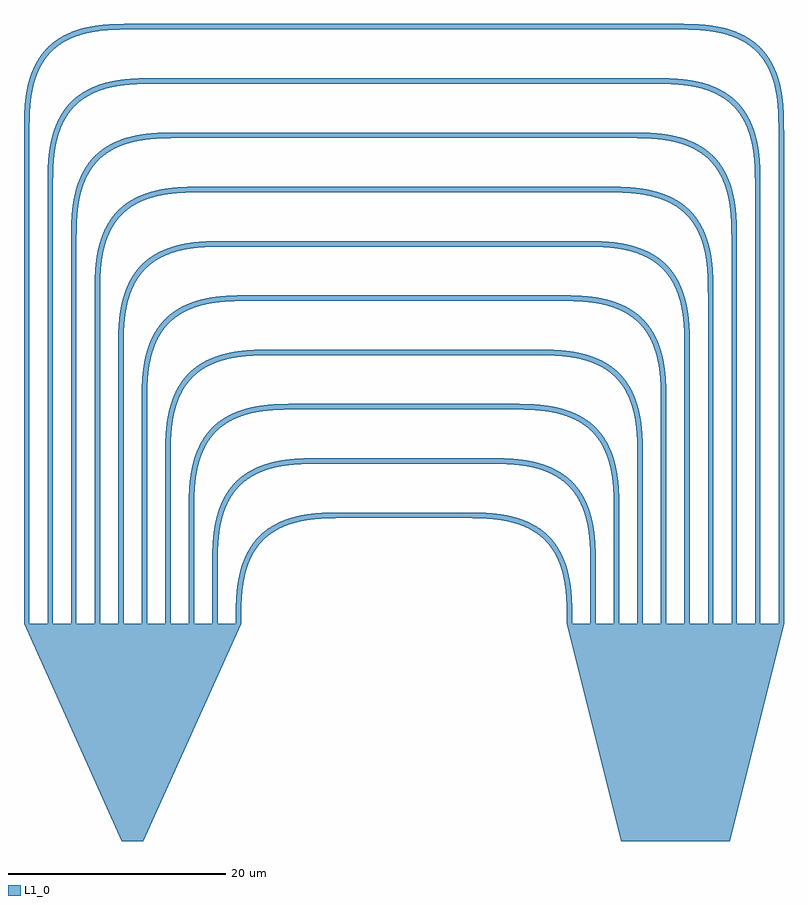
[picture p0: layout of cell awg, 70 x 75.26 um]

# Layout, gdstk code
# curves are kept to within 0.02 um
from math import pi, radians
import gdstk
lib = gdstk.Library(unit=1e-6, precision=1e-09)
def R(c, l, rs):  # rectangles x0, y0, x1, y1
    for r in rs: c.add(gdstk.rectangle(r[:2], r[2:], *l))
def P(c, l, *ps):  # polygons
    for p in ps: c.add(gdstk.Polygon(p, *l))
L1_0 = (1, 0)

free_propagation_region_ = lib.new_cell('free_propagation_region_5af035e7')
P(free_propagation_region_, L1_0, [(0,1),(20,10),(20,-10),(0,-1)])

c_free_propagation_region_ = lib.new_cell('free_propagation_region_16890314')
P(c_free_propagation_region_, L1_0, [(0,5),(20,10),(20,-10),(0,-5)])

bend_euler_cross_sectio_ = lib.new_cell('bend_euler_cross_sectio_a3a0edf9')
P(bend_euler_cross_sectio_, L1_0, [(0,-0.25),(1.602,-0.235),(2.93,-0.158),(3.973,-0.02),(4.865,0.175),(5.829,0.491),(6.664,0.882),(7.404,1.353),(8.073,1.927),(8.647,2.596),(9.118,3.336),(9.509,4.171),(9.825,5.135),(10.02,6.027),(10.158,7.07),(10.235,8.398),(10.25,10),(9.75,10),(9.731,8.272),(9.651,7.025),(9.494,5.933),(9.213,4.826),(8.921,4.063),(8.591,3.419),(8.163,2.785),(7.751,2.313),(7.215,1.837),(6.581,1.409),(5.937,1.079),(5.217,0.801),(4.247,0.542),(2.975,0.349),(1.728,0.269),(0,0.25)])

straight_cross_sectionc_ = lib.new_cell('straight_cross_sectionc_aca44847')
R(straight_cross_sectionc_, L1_0, [(0,-0.25,0.01,0.25)])

c_straight_cross_sectionc_ = lib.new_cell('straight_cross_sectionc_1c0b4d83')
R(c_straight_cross_sectionc_, L1_0, [(0,-0.25,10.5,0.25)])

c_straight_cross_sectionc__ = lib.new_cell('straight_cross_sectionc_0009f424')
R(c_straight_cross_sectionc__, L1_0, [(0,-0.25,5.01,0.25)])

c_straight_cross_sectionc___ = lib.new_cell('straight_cross_sectionc_53b2a144')
R(c_straight_cross_sectionc___, L1_0, [(0,-0.25,14.834,0.25)])

c_straight_cross_sectionc____ = lib.new_cell('straight_cross_sectionc_236e7ba1')
R(c_straight_cross_sectionc____, L1_0, [(0,-0.25,10.01,0.25)])

c_straight_cross_sectionc_____ = lib.new_cell('straight_cross_sectionc_b44a5229')
R(c_straight_cross_sectionc_____, L1_0, [(0,-0.25,19.166,0.25)])

c_straight_cross_sectionc______ = lib.new_cell('straight_cross_sectionc_7b91e607')
R(c_straight_cross_sectionc______, L1_0, [(0,-0.25,15.01,0.25)])

c_straight_cross_sectionc_______ = lib.new_cell('straight_cross_sectionc_a8fe67b3')
R(c_straight_cross_sectionc_______, L1_0, [(0,-0.25,23.5,0.25)])

c_straight_cross_sectionc________ = lib.new_cell('straight_cross_sectionc_2ac3342b')
R(c_straight_cross_sectionc________, L1_0, [(0,-0.25,20.01,0.25)])

c_straight_cross_sectionc_________ = lib.new_cell('straight_cross_sectionc_bfb3202f')
R(c_straight_cross_sectionc_________, L1_0, [(0,-0.25,27.834,0.25)])

c_straight_cross_sectionc__________ = lib.new_cell('straight_cross_sectionc_09b9c956')
R(c_straight_cross_sectionc__________, L1_0, [(0,-0.25,25.01,0.25)])

c_straight_cross_sectionc___________ = lib.new_cell('straight_cross_sectionc_a45264f7')
R(c_straight_cross_sectionc___________, L1_0, [(0,-0.25,32.166,0.25)])

c_straight_cross_sectionc____________ = lib.new_cell('straight_cross_sectionc_b49eb72f')
R(c_straight_cross_sectionc____________, L1_0, [(0,-0.25,30.01,0.25)])

c_straight_cross_sectionc_____________ = lib.new_cell('straight_cross_sectionc_97237510')
R(c_straight_cross_sectionc_____________, L1_0, [(0,-0.25,36.5,0.25)])

c_straight_cross_sectionc______________ = lib.new_cell('straight_cross_sectionc_0864c22d')
R(c_straight_cross_sectionc______________, L1_0, [(0,-0.25,35.01,0.25)])

c_straight_cross_sectionc_______________ = lib.new_cell('straight_cross_sectionc_280e0048')
R(c_straight_cross_sectionc_______________, L1_0, [(0,-0.25,40.834,0.25)])

c_straight_cross_sectionc________________ = lib.new_cell('straight_cross_sectionc_a33b5f81')
R(c_straight_cross_sectionc________________, L1_0, [(0,-0.25,40.01,0.25)])

c_straight_cross_sectionc_________________ = lib.new_cell('straight_cross_sectionc_139fe48e')
R(c_straight_cross_sectionc_________________, L1_0, [(0,-0.25,45.166,0.25)])

c_straight_cross_sectionc__________________ = lib.new_cell('straight_cross_sectionc_9895beac')
R(c_straight_cross_sectionc__________________, L1_0, [(0,-0.25,45.01,0.25)])

c_straight_cross_sectionc___________________ = lib.new_cell('straight_cross_sectionc_1b3b9762')
R(c_straight_cross_sectionc___________________, L1_0, [(0,-0.25,49.5,0.25)])

awg = lib.new_cell('awg')
awg.add(gdstk.Reference(free_propagation_region_, (0,0), rotation=pi/2))
awg.add(gdstk.Reference(c_free_propagation_region_, (50,0), rotation=pi/2))
awg.add(gdstk.Reference(bend_euler_cross_sectio_, (9.75,20.01), rotation=pi/2, x_reflection=True))
awg.add(gdstk.Reference(bend_euler_cross_sectio_, (30.25,30.01), x_reflection=True))
awg.add(gdstk.Reference(straight_cross_sectionc_, (9.75,20), rotation=pi/2))
awg.add(gdstk.Reference(c_straight_cross_sectionc_, (19.75,30.01)))
awg.add(gdstk.Reference(straight_cross_sectionc_, (40.25,20.01), rotation=3*pi/2))
awg.add(gdstk.Reference(bend_euler_cross_sectio_, (7.583,25.01), rotation=pi/2, x_reflection=True))
awg.add(gdstk.Reference(bend_euler_cross_sectio_, (32.417,35.01), x_reflection=True))
awg.add(gdstk.Reference(c_straight_cross_sectionc__, (7.583,20), rotation=pi/2))
awg.add(gdstk.Reference(c_straight_cross_sectionc___, (17.583,35.01)))
awg.add(gdstk.Reference(c_straight_cross_sectionc__, (42.417,25.01), rotation=3*pi/2))
awg.add(gdstk.Reference(bend_euler_cross_sectio_, (5.417,30.01), rotation=pi/2, x_reflection=True))
awg.add(gdstk.Reference(bend_euler_cross_sectio_, (34.583,40.01), x_reflection=True))
awg.add(gdstk.Reference(c_straight_cross_sectionc____, (5.417,20), rotation=pi/2))
awg.add(gdstk.Reference(c_straight_cross_sectionc_____, (15.417,40.01)))
awg.add(gdstk.Reference(c_straight_cross_sectionc____, (44.583,30.01), rotation=3*pi/2))
awg.add(gdstk.Reference(bend_euler_cross_sectio_, (3.25,35.01), rotation=pi/2, x_reflection=True))
awg.add(gdstk.Reference(bend_euler_cross_sectio_, (36.75,45.01), x_reflection=True))
awg.add(gdstk.Reference(c_straight_cross_sectionc______, (3.25,20), rotation=pi/2))
awg.add(gdstk.Reference(c_straight_cross_sectionc_______, (13.25,45.01)))
awg.add(gdstk.Reference(c_straight_cross_sectionc______, (46.75,35.01), rotation=3*pi/2))
awg.add(gdstk.Reference(bend_euler_cross_sectio_, (1.083,40.01), rotation=pi/2, x_reflection=True))
awg.add(gdstk.Reference(bend_euler_cross_sectio_, (38.917,50.01), x_reflection=True))
awg.add(gdstk.Reference(c_straight_cross_sectionc________, (1.083,20), rotation=pi/2))
awg.add(gdstk.Reference(c_straight_cross_sectionc_________, (11.083,50.01)))
awg.add(gdstk.Reference(c_straight_cross_sectionc________, (48.917,40.01), rotation=3*pi/2))
awg.add(gdstk.Reference(bend_euler_cross_sectio_, (-1.083,45.01), rotation=pi/2, x_reflection=True))
awg.add(gdstk.Reference(bend_euler_cross_sectio_, (41.083,55.01), x_reflection=True))
awg.add(gdstk.Reference(c_straight_cross_sectionc__________, (-1.083,20), rotation=pi/2))
awg.add(gdstk.Reference(c_straight_cross_sectionc___________, (8.917,55.01)))
awg.add(gdstk.Reference(c_straight_cross_sectionc__________, (51.083,45.01), rotation=3*pi/2))
awg.add(gdstk.Reference(bend_euler_cross_sectio_, (-3.25,50.01), rotation=pi/2, x_reflection=True))
awg.add(gdstk.Reference(bend_euler_cross_sectio_, (43.25,60.01), x_reflection=True))
awg.add(gdstk.Reference(c_straight_cross_sectionc____________, (-3.25,20), rotation=pi/2))
awg.add(gdstk.Reference(c_straight_cross_sectionc_____________, (6.75,60.01)))
awg.add(gdstk.Reference(c_straight_cross_sectionc____________, (53.25,50.01), rotation=3*pi/2))
awg.add(gdstk.Reference(bend_euler_cross_sectio_, (-5.417,55.01), rotation=pi/2, x_reflection=True))
awg.add(gdstk.Reference(bend_euler_cross_sectio_, (45.417,65.01), x_reflection=True))
awg.add(gdstk.Reference(c_straight_cross_sectionc______________, (-5.417,20), rotation=pi/2))
awg.add(gdstk.Reference(c_straight_cross_sectionc_______________, (4.583,65.01)))
awg.add(gdstk.Reference(c_straight_cross_sectionc______________, (55.417,55.01), rotation=3*pi/2))
awg.add(gdstk.Reference(bend_euler_cross_sectio_, (-7.583,60.01), rotation=pi/2, x_reflection=True))
awg.add(gdstk.Reference(bend_euler_cross_sectio_, (47.583,70.01), x_reflection=True))
awg.add(gdstk.Reference(c_straight_cross_sectionc________________, (-7.583,20), rotation=pi/2))
awg.add(gdstk.Reference(c_straight_cross_sectionc_________________, (2.417,70.01)))
awg.add(gdstk.Reference(c_straight_cross_sectionc________________, (57.583,60.01), rotation=3*pi/2))
awg.add(gdstk.Reference(bend_euler_cross_sectio_, (-9.75,65.01), rotation=pi/2, x_reflection=True))
awg.add(gdstk.Reference(bend_euler_cross_sectio_, (49.75,75.01), x_reflection=True))
awg.add(gdstk.Reference(c_straight_cross_sectionc__________________, (-9.75,20), rotation=pi/2))
awg.add(gdstk.Reference(c_straight_cross_sectionc___________________, (0.25,75.01)))
awg.add(gdstk.Reference(c_straight_cross_sectionc__________________, (59.75,65.01), rotation=3*pi/2))

lib.write_gds('awg.gds')
